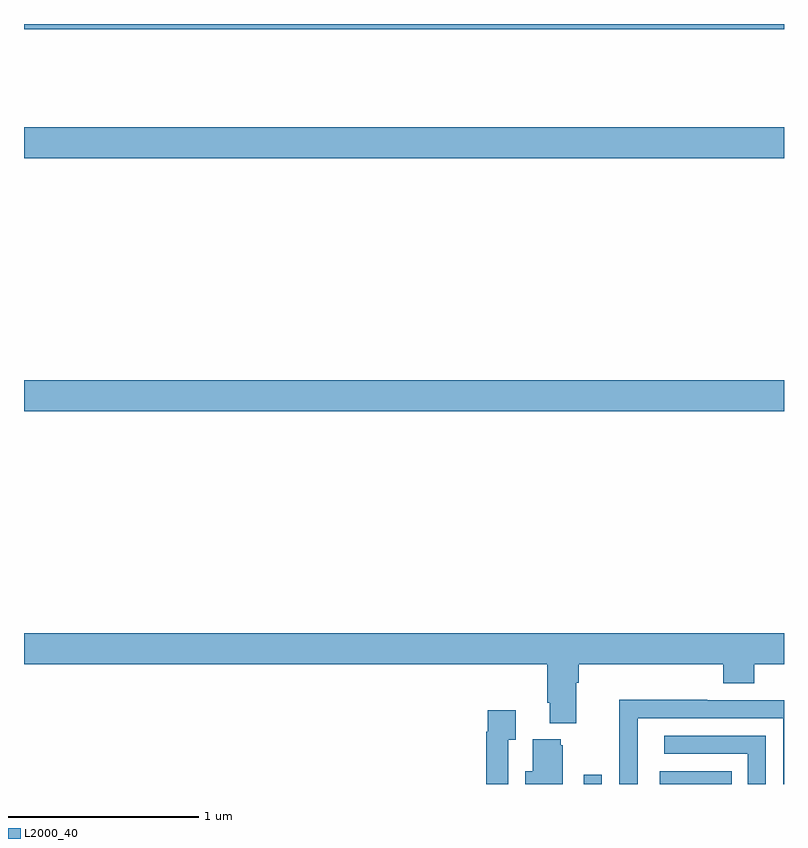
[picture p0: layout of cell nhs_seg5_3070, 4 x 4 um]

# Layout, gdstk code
import gdstk
lib = gdstk.Library(unit=1e-6, precision=1e-09)
def R(c, l, rs):  # rectangles x0, y0, x1, y1
    for r in rs: c.add(gdstk.rectangle(r[:2], r[2:], *l))
def P(c, l, *ps):  # polygons
    for p in ps: c.add(gdstk.Polygon(p, *l))
L2000_40 = (2000, 40)

nhs_seg5_3070 = lib.new_cell('nhs_seg5_3070')
R(nhs_seg5_3070, L2000_40, [(291.945,854.799,292.041,854.848), (292.346,854.799,292.724,854.866), (289,856.76,293,856.924), (289,858.092,293,858.256), (289,858.772,293,858.799)])
P(nhs_seg5_3070, L2000_40, [(291.907,855.332),(291.92,855.332),(291.92,855.428),(292.679,855.428),(292.679,855.329),(292.844,855.329),(292.844,855.428),(293,855.428),(293,855.592),(289,855.592),(289,855.428),(291.755,855.428),(291.755,855.226),(291.767,855.226),(291.767,855.119),(291.907,855.119)],
  [(292.23,855.144),(292.995,855.144),(292.995,854.799),(293,854.799),(293,855.24),(292.595,855.24),(292.595,855.242),(292.132,855.242),(292.132,854.935),(292.134,854.935),(292.134,854.799),(292.23,854.799)],
  [(291.549,855.031),(291.589,855.031),(291.589,855.187),(291.441,855.187),(291.441,855.074),(291.433,855.074),(291.433,854.799),(291.549,854.799)],
  [(292.905,855.054),(292.371,855.054),(292.371,854.958),(292.809,854.958),(292.809,854.799),(292.905,854.799)],
  [(291.835,855.003),(291.824,855.003),(291.824,855.034),(291.677,855.034),(291.677,854.866),(291.638,854.866),(291.638,854.799),(291.835,854.799)])

lib.write_gds('nhs_seg5_3070.gds')
